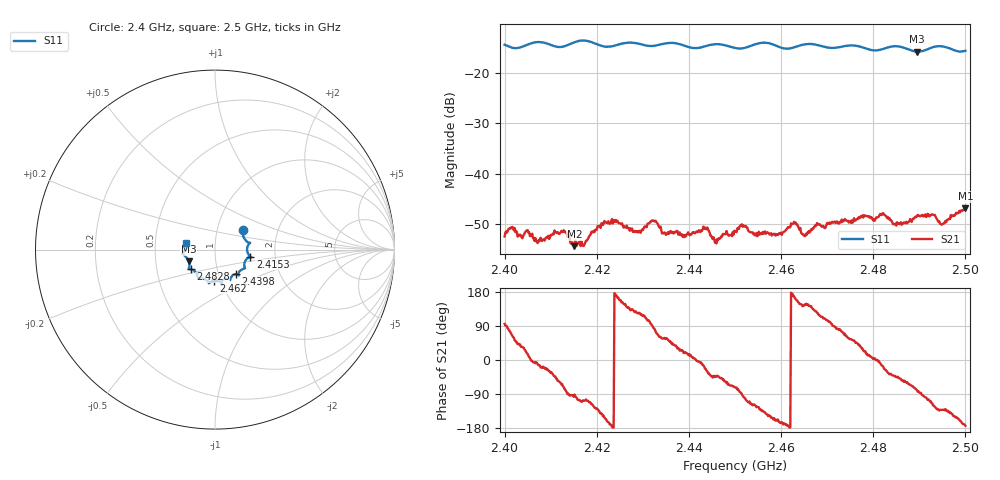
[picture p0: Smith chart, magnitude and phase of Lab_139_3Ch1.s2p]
# Hz S RI R 50
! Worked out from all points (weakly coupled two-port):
!   601 points, 2.4 GHz to 2.5 GHz, reference 50 ohm
!   highest |S21| = -46.84 dB at 2.5 GHz (marker M1); lowest = -54.3 dB at 2.4152 GHz (marker M2)
!   lowest |S11| = -15.9 dB at 2.4895 GHz (marker M3), VSWR 1.38, Z = 36.9 - j5.01 ohm
!   |S11| at or under -10 dB: start of sweep to end of sweep
!   S12 and S22 are empty: the file has one direction only
!   S11 on the Smith chart (normalised r, x): 2.4 GHz: 1.33, +0.29; 2.4153 GHz: 1.48, -0.12; 2.4398 GHz: 1.21, -0.34; 2.462 GHz: 0.93, -0.33; 2.4828 GHz: 0.74, -0.17; 2.5 GHz: 0.72, +0.06
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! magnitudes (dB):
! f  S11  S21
! 2.4 GHz  -14.5  -52.4
! 2.4017 GHz  -15.1  -50.5
! 2.407 GHz  -14.0  -53.4
! 2.4128 GHz  -14.9  -51.2
! 2.4152 GHz  -14.0  -54.3
! 2.4153 GHz  -14.0  -53.2
! 2.4167 GHz  -13.7  -53.3
! 2.422 GHz  -14.9  -49.7
! 2.4285 GHz  -14.2  -51.3
! 2.4333 GHz  -14.6  -50.2
! 2.4398 GHz  -15.0  -51.6
! 2.4437 GHz  -14.8  -50.6
! 2.446 GHz  -14.4  -53.7
! 2.45 GHz  -15.1  -51.5
! 2.459 GHz  -14.7  -51.9
! 2.462 GHz  -15.2  -50.6
! 2.4667 GHz  -14.4  -51.1
! 2.4828 GHz  -15.1  -48.4
! 2.4833 GHz  -15.0  -48.9
! 2.4895 GHz  -15.9  -48.3
! 2.495 GHz  -14.8  -49.9
! 2.5 GHz  -15.7  -46.8
